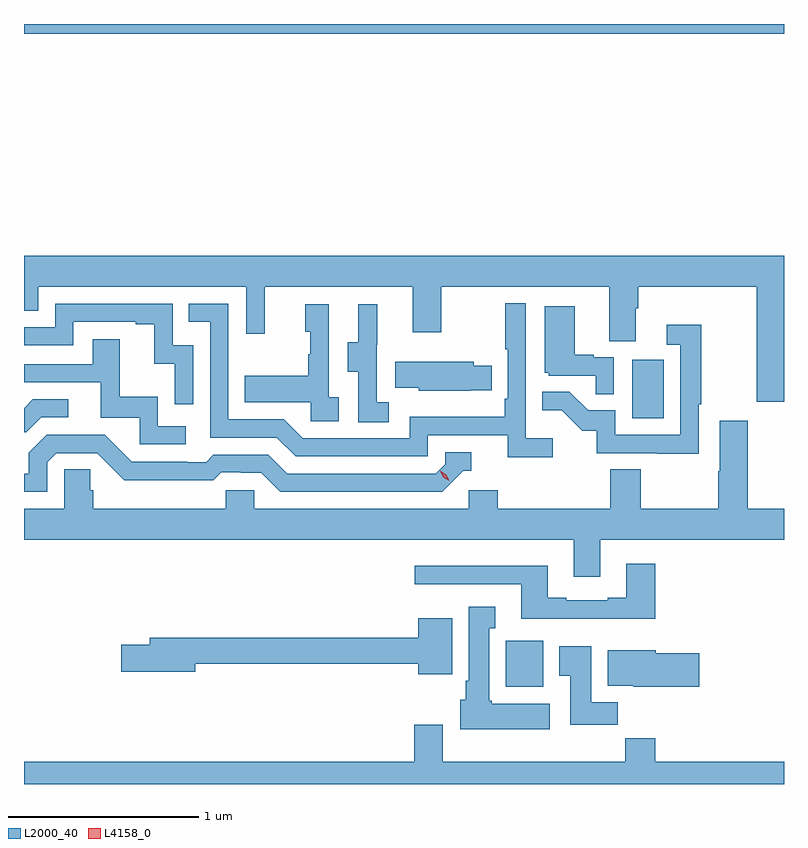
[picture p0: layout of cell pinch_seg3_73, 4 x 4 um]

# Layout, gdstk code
import gdstk
lib = gdstk.Library(unit=1e-6, precision=1e-09)
def R(c, l, rs):  # rectangles x0, y0, x1, y1
    for r in rs: c.add(gdstk.rectangle(r[:2], r[2:], *l))
def P(c, l, *ps):  # polygons
    for p in ps: c.add(gdstk.Polygon(p, *l))
L2000_40 = (2000, 40)
L4158_0 = (4158, 0)

pinch_seg3_73 = lib.new_cell('pinch_seg3_73')
R(pinch_seg3_73, L2000_40, [(1018.952,734.774,1019.149,735.016), (1019.618,736.188,1019.782,736.495), (1016.416,738.212,1020.416,738.263)])
P(pinch_seg3_73, L2000_40, [(1020.416,737.044),(1016.416,737.044),(1016.416,736.753),(1016.49,736.753),(1016.49,736.88),(1017.585,736.88),(1017.585,736.632),(1017.683,736.632),(1017.683,736.88),(1018.463,736.88),(1018.463,736.641),(1018.611,736.641),(1018.611,736.88),(1019.495,736.88),(1019.495,736.594),(1019.635,736.594),(1019.635,736.768),(1019.648,736.768),(1019.648,736.88),(1020.272,736.88),(1020.272,736.274),(1020.416,736.274)],
  [(1019.2,736.084),(1019.058,736.084),(1019.058,736.792),(1018.95,736.792),(1018.95,736.552),(1018.962,736.552),(1018.962,736.291),(1018.945,736.291),(1018.945,736.195),(1018.446,736.195),(1018.446,736.083),(1017.882,736.083),(1017.783,736.182),(1017.492,736.182),(1017.492,736.791),(1017.283,736.791),(1017.283,736.695),(1017.396,736.695),(1017.396,736.086),(1017.746,736.086),(1017.845,735.987),(1018.542,735.987),(1018.542,736.098),(1018.961,736.098),(1018.961,735.982),(1019.2,735.982)],
  [(1017.306,736.572),(1017.198,736.572),(1017.198,736.791),(1016.58,736.791),(1016.58,736.668),(1016.416,736.668),(1016.416,736.572),(1016.676,736.572),(1016.676,736.695),(1017.005,736.695),(1017.005,736.683),(1017.101,736.683),(1017.101,736.475),(1017.21,736.475),(1017.21,736.263),(1017.306,736.263)],
  [(1018.072,736.298),(1018.02,736.298),(1018.02,736.789),(1017.896,736.789),(1017.896,736.644),(1017.922,736.644),(1017.922,736.526),(1017.912,736.526),(1017.912,736.411),(1017.577,736.411),(1017.577,736.271),(1017.924,736.271),(1017.924,736.173),(1018.072,736.173)],
  [(1018.336,736.271),(1018.272,736.271),(1018.272,736.575),(1018.274,736.575),(1018.274,736.789),(1018.175,736.789),(1018.175,736.587),(1018.121,736.587),(1018.121,736.432),(1018.176,736.432),(1018.176,736.168),(1018.336,736.168)],
  [(1019.52,736.509),(1019.414,736.509),(1019.414,736.522),(1019.314,736.522),(1019.314,736.777),(1019.156,736.777),(1019.156,736.428),(1019.178,736.428),(1019.178,736.413),(1019.425,736.413),(1019.425,736.315),(1019.52,736.315)],
  [(1019.967,736.261),(1019.98,736.261),(1019.98,736.681),(1019.799,736.681),(1019.799,736.575),(1019.871,736.575),(1019.871,736.101),(1019.529,736.101),(1019.529,736.23),(1019.385,736.23),(1019.287,736.328),(1019.143,736.328),(1019.143,736.229),(1019.247,736.229),(1019.354,736.122),(1019.431,736.122),(1019.431,736.005),(1019.749,736.005),(1019.749,736),(1019.967,736)],
  [(1017.268,736.146),(1017.12,736.146),(1017.12,736.3),(1016.921,736.3),(1016.921,736.603),(1016.777,736.603),(1016.777,736.473),(1016.416,736.473),(1016.416,736.377),(1016.819,736.377),(1016.819,736.191),(1017.024,736.191),(1017.024,736.05),(1017.268,736.05)],
  [(1018.766,736.335),(1018.877,736.335),(1018.877,736.464),(1018.783,736.464),(1018.783,736.486),(1018.369,736.486),(1018.369,736.349),(1018.494,736.349),(1018.494,736.334),(1018.766,736.334)],
  [(1016.508,736.194),(1016.65,736.194),(1016.65,736.287),(1016.462,736.287),(1016.416,736.241),(1016.416,736.114),(1016.428,736.114)],
  [(1019.449,735.548),(1020.416,735.548),(1020.416,735.712),(1020.225,735.712),(1020.225,736.174),(1020.077,736.174),(1020.077,735.908),(1020.07,735.908),(1020.07,735.712),(1019.661,735.712),(1019.661,735.92),(1019.501,735.92),(1019.501,735.712),(1018.91,735.712),(1018.91,735.81),(1018.758,735.81),(1018.758,735.712),(1017.627,735.712),(1017.627,735.81),(1017.477,735.81),(1017.477,735.712),(1016.78,735.712),(1016.78,735.81),(1016.765,735.81),(1016.765,735.92),(1016.628,735.92),(1016.628,735.712),(1016.416,735.712),(1016.416,735.548),(1019.309,735.548),(1019.309,735.354),(1019.449,735.354)],
  [(1016.538,735.957),(1016.586,736.005),(1016.802,736.005),(1016.944,735.863),(1017.18,735.863),(1017.18,735.861),(1017.413,735.861),(1017.455,735.903),(1017.558,735.903),(1017.558,735.9),(1017.665,735.9),(1017.764,735.801),(1018.617,735.801),(1018.728,735.912),(1018.771,735.912),(1018.771,736.008),(1018.632,736.008),(1018.632,735.945),(1018.584,735.897),(1017.801,735.897),(1017.702,735.996),(1017.413,735.996),(1017.374,735.957),(1017.275,735.957),(1017.275,735.96),(1016.982,735.96),(1016.841,736.101),(1016.535,736.101),(1016.441,736.007),(1016.441,735.897),(1016.416,735.897),(1016.416,735.801),(1016.538,735.801)],
  [(1019.738,735.421),(1019.585,735.421),(1019.585,735.244),(1019.489,735.244),(1019.489,735.231),(1019.269,735.231),(1019.269,735.244),(1019.173,735.244),(1019.173,735.412),(1018.473,735.412),(1018.473,735.315),(1019.033,735.315),(1019.033,735.134),(1019.738,735.134)],
  [(1019.182,734.686),(1018.878,734.686),(1018.878,734.7),(1018.864,734.7),(1018.864,735.083),(1018.897,735.083),(1018.897,735.196),(1018.757,735.196),(1018.757,734.806),(1018.742,734.806),(1018.742,734.706),(1018.712,734.706),(1018.712,734.552),(1019.182,734.552)],
  [(1018.669,735.136),(1018.49,735.136),(1018.49,735.032),(1017.077,735.032),(1017.077,734.996),(1016.928,734.996),(1016.928,734.854),(1017.316,734.854),(1017.316,734.896),(1018.49,734.896),(1018.49,734.84),(1018.669,734.84)],
  [(1019.54,734.692),(1019.401,734.692),(1019.401,734.989),(1019.234,734.989),(1019.234,734.833),(1019.291,734.833),(1019.291,734.574),(1019.54,734.574)],
  [(1019.971,734.951),(1019.74,734.951),(1019.74,734.968),(1019.489,734.968),(1019.489,734.78),(1019.622,734.78),(1019.622,734.774),(1019.971,734.774)],
  [(1020.416,734.38),(1019.738,734.38),(1019.738,734.504),(1019.581,734.504),(1019.581,734.38),(1018.621,734.38),(1018.621,734.575),(1018.469,734.575),(1018.469,734.38),(1016.416,734.38),(1016.416,734.263),(1020.416,734.263)])
P(pinch_seg3_73, L4158_0, [(1018.653,735.858),(1018.623,735.878),(1018.607,735.91),(1018.607,735.911),(1018.608,735.911),(1018.638,735.891),(1018.654,735.858),(1018.654,735.858)])

lib.write_gds('pinch_seg3_73.gds')
